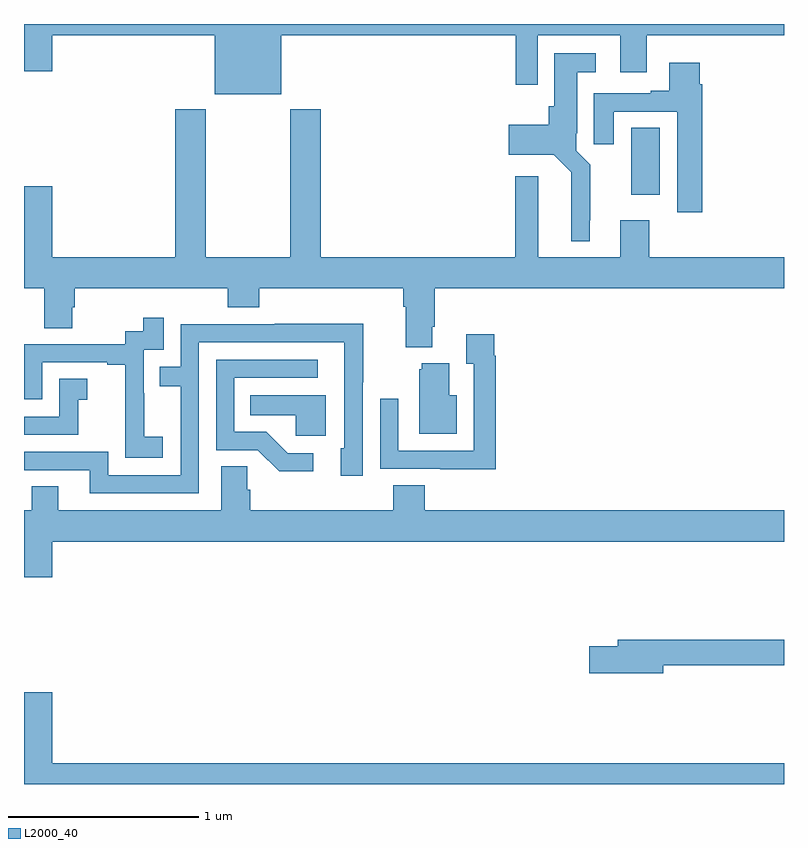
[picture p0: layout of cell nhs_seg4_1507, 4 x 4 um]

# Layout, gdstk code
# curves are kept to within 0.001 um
import gdstk
lib = gdstk.Library(unit=1e-6, precision=1e-09)
def R(c, l, rs):  # rectangles x0, y0, x1, y1
    for r in rs: c.add(gdstk.rectangle(r[:2], r[2:], *l))
def P(c, l, *ps):  # polygons
    for p in ps: c.add(gdstk.Polygon(p, *l))
L2000_40 = (2000, 40)

nhs_seg4_1507 = lib.new_cell('nhs_seg4_1507')
R(nhs_seg4_1507, L2000_40, [(192.197,776.001,192.346,776.354)])
P(nhs_seg4_1507, L2000_40, [(192.137,776.646),(192.277,776.646),(192.277,776.84),(193,776.84),(193,776.9),(189,776.9),(189,776.652),(189.148,776.652),(189.148,776.84),(190.004,776.84),(190.004,776.531),(190.354,776.531),(190.354,776.84),(191.587,776.84),(191.587,776.58),(191.703,776.58),(191.703,776.84),(192.137,776.84)],
  [(191.977,775.867),(191.981,775.867),(191.981,776.158),(191.907,776.232),(191.907,776.326),(191.911,776.326),(191.911,776.645),(192.01,776.645),(192.01,776.746),(191.792,776.746),(191.792,776.466),(191.762,776.466),(191.762,776.371),(191.55,776.371),(191.55,776.213),(191.787,776.213),(191.88,776.12),(191.879,775.757),(191.977,775.757)],
  [(192.569,776.582),(192.556,776.582),(192.556,776.695),(192.395,776.695),(192.395,776.548),(192.299,776.548),(192.299,776.535),(191.999,776.535),(191.999,776.268),(192.103,776.268),(192.103,776.439),(192.437,776.439),(192.437,775.908),(192.569,775.908)],
  [(193,775.672),(192.29,775.672),(192.29,775.867),(192.137,775.867),(192.137,775.672),(191.707,775.672),(191.707,776.098),(191.585,776.098),(191.585,775.672),(190.562,775.672),(190.562,776.452),(190.402,776.452),(190.402,775.672),(189.957,775.672),(189.957,776.452),(189.797,776.452),(189.797,775.672),(189.148,775.672),(189.148,776.047),(189,776.047),(189,775.508),(189.106,775.508),(189.106,775.3),(189.253,775.3),(189.253,775.41),(189.266,775.41),(189.266,775.508),(190.073,775.508),(190.073,775.409),(190.238,775.409),(190.238,775.508),(190.997,775.508),(190.997,775.412),(191.009,775.412),(191.009,775.199),(191.149,775.199),(191.149,775.306),(191.162,775.306),(191.162,775.508),(193,775.508)],
  [(189.73,774.727),(189.632,774.727),(189.632,774.956),(189.63,774.956),(189.63,775.185),(189.735,775.185),(189.735,775.354),(189.627,775.354),(189.627,775.284),(189.534,775.284),(189.534,775.215),(189,775.215),(189,774.924),(189.096,774.924),(189.096,775.119),(189.437,775.119),(189.437,775.107),(189.533,775.107),(189.533,774.823),(189.532,774.823),(189.532,774.617),(189.73,774.617)],
  [(189.921,775.224),(190.685,775.224),(190.685,774.97),(190.686,774.97),(190.686,774.666),(190.667,774.666),(190.667,774.522),(190.782,774.522),(190.782,775.015),(190.785,775.015),(190.785,775.322),(190.321,775.322),(190.321,775.32),(189.825,775.32),(189.825,775.095),(189.715,775.095),(189.715,774.994),(189.825,774.994),(189.825,774.525),(189.444,774.525),(189.444,774.648),(189,774.648),(189,774.552),(189.347,774.552),(189.347,774.429),(189.921,774.429)],
  [(191.483,775.154),(191.476,775.154),(191.476,775.267),(191.327,775.267),(191.327,775.111),(191.367,775.111),(191.367,774.654),(190.971,774.654),(190.971,774.928),(190.875,774.928),(190.875,774.558),(191.191,774.558),(191.191,774.557),(191.483,774.557)],
  [(190.522,774.642),(190.387,774.642),(190.276,774.753),(190.107,774.753),(190.107,775.038),(190.546,775.038),(190.546,775.134),(190.011,775.134),(190.011,774.657),(190.23,774.657),(190.343,774.545),(190.522,774.545)],
  [(191.278,774.946),(191.239,774.946),(191.239,775.114),(191.093,775.114),(191.093,775.083),(191.081,775.083),(191.081,774.743),(191.278,774.743)],
  [(189.285,774.923),(189.334,774.923),(189.334,775.033),(189.186,775.033),(189.186,774.834),(189,774.834),(189,774.738),(189.285,774.738)],
  [(190.588,774.946),(190.192,774.946),(190.192,774.842),(190.431,774.842),(190.431,774.734),(190.588,774.734)],
  [(189.148,774.176),(193,774.176),(193,774.34),(191.108,774.34),(191.108,774.473),(190.943,774.473),(190.943,774.34),(190.19,774.34),(190.19,774.449),(190.176,774.449),(190.176,774.572),(190.037,774.572),(190.037,774.34),(189.181,774.34),(189.181,774.467),(189.042,774.467),(189.042,774.34),(189,774.34),(189,773.988),(189.148,773.988)],
  [(192.364,773.524),(193,773.524),(193,773.66),(192.125,773.66),(192.125,773.624),(191.976,773.624),(191.976,773.482),(192.364,773.482)],
  [(193,773.008),(189.148,773.008),(189.148,773.383),(189,773.383),(189,772.9),(193,772.9)])

lib.write_gds('nhs_seg4_1507.gds')
